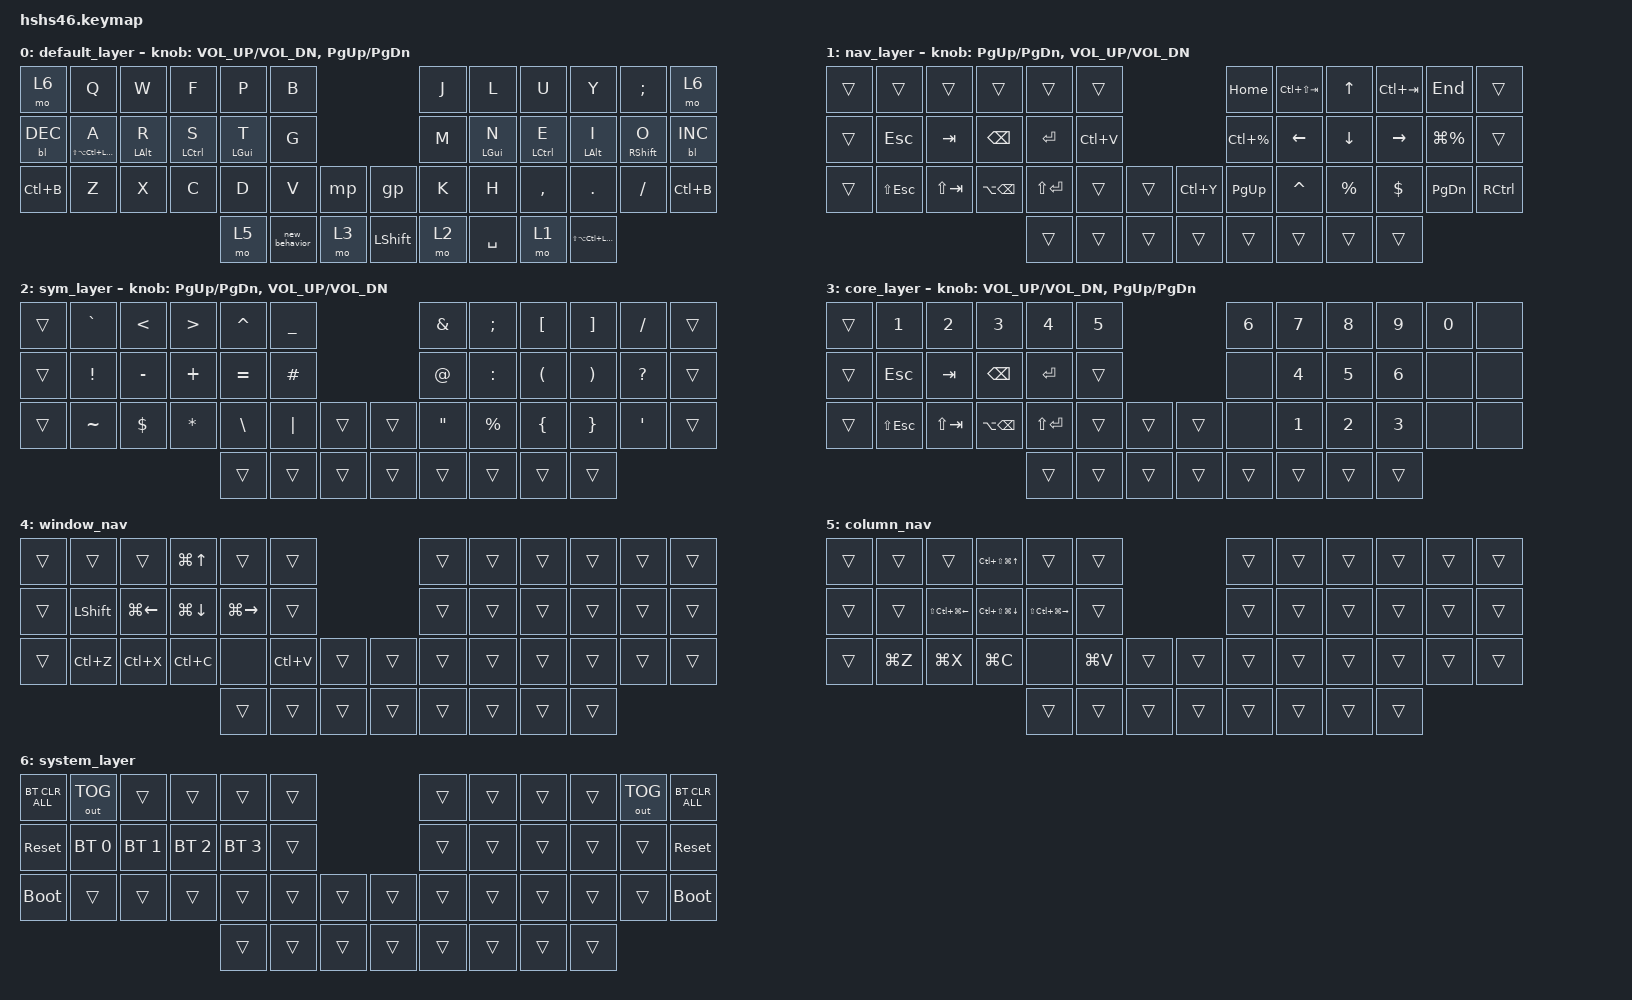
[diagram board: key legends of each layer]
/*
 * Copyright (c) 2021-2022 The ZMK Contributors
 *
 * SPDX-License-Identifier: MIT
 */

#include <behaviors.dtsi>
#include <dt-bindings/zmk/backlight.h>
#include <dt-bindings/zmk/bt.h>
#include <dt-bindings/zmk/keys.h>
#include <dt-bindings/zmk/outputs.h>

#define QWERTY_L 0
#define DVORAK_L 1
#define COLEMK_L 2
#define NAV_L    3
#define SYM_L    4
#define ADJ_L    5
#define Undo   LC(Z)
#define Cut    LC(X)
#define Copy   LC(C)
#define Paste  LC(V)
#define Redo   LC(Y)

&mt {
    tapping-term-ms = <190>;
    flavor = "tap-preferred";
};

&lt { tapping-term-ms = <190>; };

/ {
    macros {
        mp: mp {
            compatible = "zmk,behavior-macro";
            #binding-cells = <0>;
            bindings = <&none &kp M &kp A &kp S &kp T &kp E &kp R &kp LS(C) &kp H &kp LS(I) &kp E &kp LS(F) &kp AMPS &kp M &kp J &kp O &kp L &kp N &kp I &kp R &kp M &kp A &kp R &kp K &kp N5 &kp I &kp V &kp E &kp EXCL>;
            label = "MP";
        };

        gp: gp {
            compatible = "zmk,behavior-macro";
            #binding-cells = <0>;
            bindings = <&none &kp LS(M) &kp J &kp O &kp L &kp N &kp I &kp R &kp M &kp A &kp R &kp K &kp N5 &kp I &kp V &kp E>;
            label = "GP";
        };
    };

    behaviors {
        new_behavior: new_behavior {
            compatible = "zmk,behavior-tap-dance";
            label = "NEW_BEHAVIOR";
            #binding-cells = <0>;
            bindings = <&mo 4>, <&mo 5>;
        };
    };

    keymap {
        compatible = "zmk,keymap";

        default_layer {
            /* QWERTY
 * -------------------------------------------------------------------------------------------------------------------------------------
 * | `     |   Q   |   W   |   E   |   R   |   T   |-----------------------------------|   Y   |   U   |   I   |   O   |   P   | BKSPC |
 * | TAB   |   A   |   S   |   D   |   F   |   G   |-----------------------------------|   H   |   J   |   K   |   L   |   ;   | ENTER |
 * | CTRL  |   Z   |   X   |   C   |   V   |   B   |  ESC  |-------------------|  CAPS |   N   |   M   |   ,   |   .   |   /   |   '   |
 *                                 |  GUI  |  ALT  |SK SHFT|  Nav  |---|  Sym  | SPACE |  ALT  |  GUI  |
 */

            bindings = <
&mo 6       &kp Q                       &kp W           &kp F        &kp P           &kp B                                                   &kp J  &kp L                     &kp U        &kp Y           &kp SEMI           &mo 6
&bl BL_DEC  &mt LS(LA(LC(LEFT_GUI))) A  &mt LEFT_ALT R  &mt LCTRL S  &mt LEFT_GUI T  &kp G                                                   &kp M  &mt LEFT_GUI N            &mt LCTRL E  &mt LEFT_ALT I  &mt RIGHT_SHIFT O  &bl BL_INC
&kp LC(B)   &kp Z                       &kp X           &kp C        &kp D           &kp V          &mp                           &gp        &kp K  &kp H                     &kp COMMA    &kp DOT         &kp SLASH          &kp LC(B)
                                                                     &mo 5           &new_behavior  &mo 3  &kp LEFT_SHIFT  &mo 2  &kp SPACE  &mo 1  &kp LS(LA(LC(LEFT_GUI)))
            >;

            sensor-bindings = <&inc_dec_kp C_VOL_UP C_VOL_DN &inc_dec_kp PG_UP PG_DN>;
        };

        nav_layer {
            /* NAV
 * -------------------------------------------------------------------------------------------------------------------------------------
 * | Copy  |   1   |   2   |   3   |   4   |   5   |-----------------------------------|   6   |   7   |   8   |   9   |   0   | BSPC  |
 * | Cut   |  GUI  |  Alt  | Ctrl  | Shift | Paste |-----------------------------------| PG UP |  Left |  Up   |  Down | Right | PG DN |
 * | Ctrl  |  F1   |  F2   |  F3   |  F4   |  F5   |  UnDo |-------------------| ReDo  |  F6   |  F7   |  F8   |  F9   |  F10  | Ctrl  |
 *                                 |       |       |       |       |---| ADJ_L |       |       |       |
 */

            bindings = <
&trans  &trans          &trans       &trans             &trans         &trans                                       &kp HOME         &kp LC(LS(TAB))  &kp UP       &kp LC(TAB)  &kp END          &trans
&trans  &kp ESC         &kp TAB      &kp BSPC           &kp RET        &kp Paste                                    &kp LC(PERCENT)  &kp LEFT         &kp DOWN     &kp RIGHT    &kp LG(PERCENT)  &trans
&trans  &kp LS(ESCAPE)  &kp LS(TAB)  &kp LA(BACKSPACE)  &kp LS(ENTER)  &trans     &trans                  &kp Redo  &kp PAGE_UP      &kp CARET        &kp PERCENT  &kp DOLLAR   &kp PAGE_DOWN    &kp RCTRL
                                                        &trans         &trans     &trans  &trans  &trans  &trans    &trans           &trans
            >;

            sensor-bindings = <&inc_dec_kp PG_UP PG_DN &inc_dec_kp C_VOL_UP C_VOL_DN>;
        };

        sym_layer {
            /* SYM
 * -------------------------------------------------------------------------------------------------------------------------------------
 * | INS   |   !   |   @   |   #   |   $   |   %   |-----------------------------------|   ^   |   &   |   *   |   (   |   )   | BSPC  |
 * |       |   \   |   -   |   =   |   [   |   ]   |-----------------------------------| HOME  | Shift | Ctrl  | Alt   | Gui   | END   |
 * | Ctrl  |   |   |   _   |   +   |   {   |   }   |SkAltGr|-------------------| MENU  | Mute  | Vol-  | Vol+  | Play  |       | Ctrl  |
 *                                 |       |       |       |  ADJ_L |---|      |       |       |       |
 */

            bindings = <
&trans  &kp GRAVE        &kp LESS_THAN  &kp GREATER_THAN  &kp CARET      &kp UNDER                                  &kp AMPERSAND      &kp SEMICOLON  &kp LEFT_BRACKET      &kp RIGHT_BRACKET      &kp SLASH     &trans
&trans  &kp EXCLAMATION  &kp MINUS      &kp PLUS          &kp EQUAL      &kp HASH                                   &kp AT_SIGN        &kp COLON      &kp LEFT_PARENTHESIS  &kp RIGHT_PARENTHESIS  &kp QUESTION  &trans
&trans  &kp TILDE        &kp DOLLAR     &kp ASTERISK      &kp BACKSLASH  &kp PIPE   &trans                  &trans  &kp DOUBLE_QUOTES  &kp PERCENT    &kp LEFT_BRACE        &kp RIGHT_BRACE        &kp SQT       &trans
                                                          &trans         &trans     &trans  &trans  &trans  &trans  &trans             &trans
            >;

            sensor-bindings = <&inc_dec_kp PG_UP PG_DN &inc_dec_kp C_VOL_UP C_VOL_DN>;
        };

        core_layer {
            /* ADJUST
 * -------------------------------------------------------------------------------------------------------------------------------------
 * |       | QWERTY| DVORAK| COLEMK|       |       |-----------------------------------|       |  F11  |  F12  |Prt Scr|EP_OFF | EP_ON |
 * | RESET | BT 0  | BT 1  | BT 2  | BT 3  | BT 4  |-----------------------------------|       |       |       |       |       | RESET |
 * |       | LGUI  | LALT  | LCTRL | LSHIFT|       |BT CLR |-------------------|       |       |       |OUT_USB|OUT_BLE|       | BOOTL |
 *                                 |       |       |       |       |---|       |       |       |       |
 */

            bindings = <
&trans  &kp N1          &kp N2       &kp N3        &kp N4       &kp N5                                  &kp N6  &kp N7  &kp N8  &kp N9  &kp N0  &none
&trans  &kp ESC         &kp TAB      &kp BSPC      &kp RET      &trans                                  &none   &kp N4  &kp N5  &kp N6  &none   &none
&trans  &kp LS(ESCAPE)  &kp LS(TAB)  &kp LA(BSPC)  &kp LS(RET)  &trans  &trans                  &trans  &none   &kp N1  &kp N2  &kp N3  &none   &none
                                                   &trans       &trans  &trans  &trans  &trans  &trans  &trans  &trans
            >;

            sensor-bindings = <&inc_dec_kp C_VOL_UP C_VOL_DN &inc_dec_kp PG_UP PG_DN>;
        };

        window_nav {
            bindings = <
&trans  &trans          &trans              &kp LG(UP_ARROW)    &trans         &trans                                     &trans  &trans  &trans  &trans  &trans  &trans
&trans  &kp LEFT_SHIFT  &kp LG(LEFT_ARROW)  &kp LG(DOWN_ARROW)  &kp LG(RIGHT)  &trans                                     &trans  &trans  &trans  &trans  &trans  &trans
&trans  &kp LC(Z)       &kp LC(X)           &kp LC(C)           &none          &kp LC(V)  &trans                  &trans  &trans  &trans  &trans  &trans  &trans  &trans
                                                                &trans         &trans     &trans  &trans  &trans  &trans  &trans  &trans
            >;
        };

        column_nav {
            bindings = <
&trans  &trans     &trans                      &kp LC(LS(LG(UP_ARROW)))    &trans                 &trans                                     &trans  &trans  &trans  &trans  &trans  &trans
&trans  &trans     &kp LS(LC(LG(LEFT_ARROW)))  &kp LC(LS(LG(DOWN_ARROW)))  &kp LS(LC(LG(RIGHT)))  &trans                                     &trans  &trans  &trans  &trans  &trans  &trans
&trans  &kp LG(Z)  &kp LG(X)                   &kp LG(C)                   &none                  &kp LG(V)  &trans                  &trans  &trans  &trans  &trans  &trans  &trans  &trans
                                                                           &trans                 &trans     &trans  &trans  &trans  &trans  &trans  &trans
            >;
        };

        system_layer {
            bindings = <
&bt BT_CLR_ALL  &out OUT_TOG  &trans        &trans        &trans        &trans                                  &trans  &trans  &trans  &trans  &out OUT_TOG  &bt BT_CLR_ALL
&sys_reset      &bt BT_SEL 0  &bt BT_SEL 1  &bt BT_SEL 2  &bt BT_SEL 3  &trans                                  &trans  &trans  &trans  &trans  &trans        &sys_reset
&bootloader     &trans        &trans        &trans        &trans        &trans  &trans                  &trans  &trans  &trans  &trans  &trans  &trans        &bootloader
                                                          &trans        &trans  &trans  &trans  &trans  &trans  &trans  &trans
            >;
        };
    };
};
